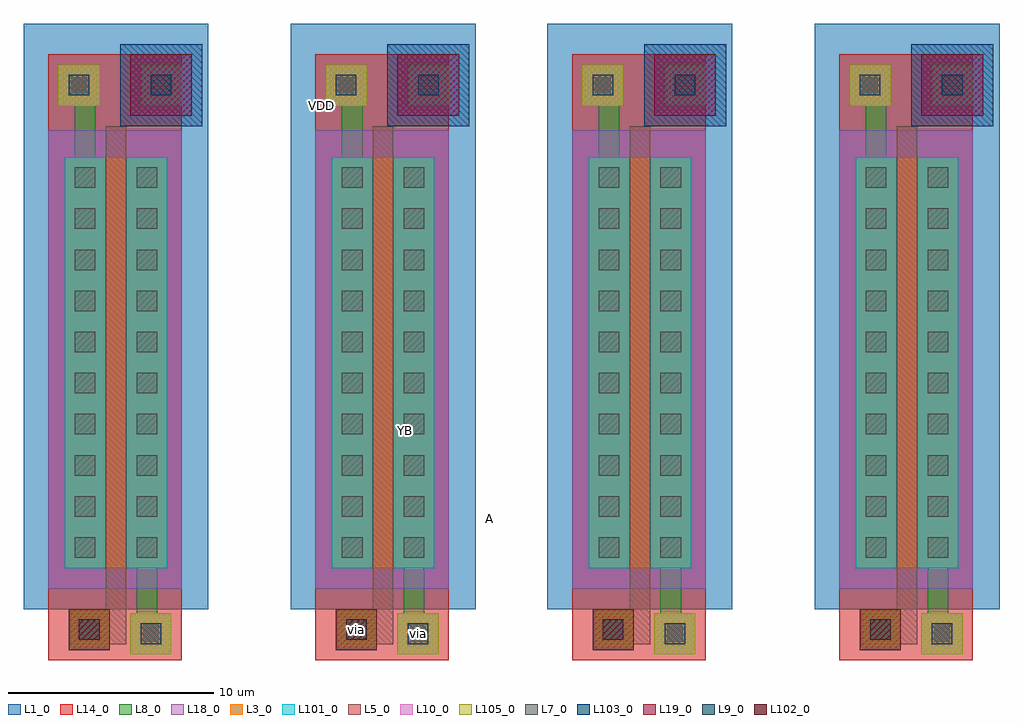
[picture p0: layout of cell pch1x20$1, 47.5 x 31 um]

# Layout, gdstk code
import gdstk
lib = gdstk.Library(unit=1e-6, precision=1e-09)
def R(c, l, rs):  # rectangles x0, y0, x1, y1
    for r in rs: c.add(gdstk.rectangle(r[:2], r[2:], *l))
L1_0 = (1, 0)
L3_0 = (3, 0)
L5_0 = (5, 0)
L7_0 = (7, 0)
L8_0 = (8, 0)
L9_0 = (9, 0)
L10_0 = (10, 0)
L14_0 = (14, 0)
L18_0 = (18, 0)
L19_0 = (19, 0)
L101_0 = (101, 0)
L102_0 = (102, 0)
L103_0 = (103, 0)
L105_0 = (105, 0)

dcont_1_1 = lib.new_cell('dcont$1$1')
R(dcont_1_1, L3_0, [(-0.5,-0.5,0.5,0.5)])
R(dcont_1_1, L7_0, [(-0.5,-0.5,0.5,0.5)])
R(dcont_1_1, L8_0, [(-1,-1,1,1)])
R(dcont_1_1, L101_0, [(-1,-1,1,1)])
dcont_1_1.add(gdstk.Label('dcont', (0,0), layer=13, texttype=0))

via_1_1 = lib.new_cell('Via$1$1')
R(via_1_1, L8_0, [(-1,-1,1,1)])
R(via_1_1, L9_0, [(-0.5,-0.5,0.5,0.5)])
R(via_1_1, L10_0, [(-1,-1,1,1)])
R(via_1_1, L105_0, [(-1,-1,1,1)])
via_1_1.add(gdstk.Label('via', (0,0), layer=13, texttype=0))

nsubcont_1 = lib.new_cell('nsubcont$1')
R(nsubcont_1, L1_0, [(-2,-2,2,2)])
R(nsubcont_1, L19_0, [(-1.5,-1.5,1.5,1.5)])
R(nsubcont_1, L103_0, [(-2,-2,2,2)])
nsubcont_1.add(gdstk.Reference(dcont_1_1, (0,0)))
nsubcont_1.add(gdstk.Label('NScont', (0,0), layer=13, texttype=0))

pcont_1_1 = lib.new_cell('pcont$1$1')
R(pcont_1_1, L5_0, [(-1,-1,1,1)])
R(pcont_1_1, L7_0, [(-0.5,-0.5,0.5,0.5)])
R(pcont_1_1, L8_0, [(-1,-1,1,1)])
R(pcont_1_1, L102_0, [(-1,-1,1,1)])
pcont_1_1.add(gdstk.Label('pcont', (0,0), layer=13, texttype=0))

dcont_1 = lib.new_cell('dcont$1')
R(dcont_1, L3_0, [(-0.5,-0.5,0.5,0.5)])
R(dcont_1, L7_0, [(-0.5,-0.5,0.5,0.5)])
R(dcont_1, L8_0, [(-1,-1,1,1)])
R(dcont_1, L101_0, [(-1,-1,1,1)])
dcont_1.add(gdstk.Label('dcont', (0,0), layer=13, texttype=0))

via_1 = lib.new_cell('Via$1')
R(via_1, L8_0, [(-1,-1,1,1)])
R(via_1, L9_0, [(-0.5,-0.5,0.5,0.5)])
R(via_1, L10_0, [(-1,-1,1,1)])
R(via_1, L105_0, [(-1,-1,1,1)])
via_1.add(gdstk.Label('via', (0,0), layer=13, texttype=0))

nsubcont = lib.new_cell('nsubcont')
R(nsubcont, L1_0, [(-2,-2,2,2)])
R(nsubcont, L19_0, [(-1.5,-1.5,1.5,1.5)])
R(nsubcont, L103_0, [(-2,-2,2,2)])
nsubcont.add(gdstk.Reference(dcont_1, (0,0)))
nsubcont.add(gdstk.Label('NScont', (0,0), layer=13, texttype=0))

pcont_1 = lib.new_cell('pcont$1')
R(pcont_1, L5_0, [(-1,-1,1,1)])
R(pcont_1, L7_0, [(-0.5,-0.5,0.5,0.5)])
R(pcont_1, L8_0, [(-1,-1,1,1)])
R(pcont_1, L102_0, [(-1,-1,1,1)])
pcont_1.add(gdstk.Label('pcont', (0,0), layer=13, texttype=0))

pch1x20 = lib.new_cell('pch1x20')
R(pch1x20, L1_0, [(-1.2,3,7.8,31.5)])
R(pch1x20, L3_0, [(0.8,5,5.8,25)])
R(pch1x20, L5_0, [(1.3,1.3,3.8,2.7)])
R(pch1x20, L8_0, [(4,0.8,6,2.8), (1,1,3,3)])
R(pch1x20, L10_0, [(4,0.8,6,2.8), (1,1,3,3)])
R(pch1x20, L14_0, [(0,0.5,6.5,30)])
R(pch1x20, L18_0, [(0,4,6.5,26.3)])
R(pch1x20, L105_0, [(4,0.8,6,2.8), (1,1,3,3)])
pch1x20.add(gdstk.FlexPath([(1.8,29),(1.8,23.8)], 1, ends="extended", simple_path=True, layer=8, datatype=0))  # L8_0
pch1x20.add(gdstk.FlexPath([(1.8,5.8),(1.8,24)], 1.4, ends="extended", simple_path=True, layer=8, datatype=0))  # L8_0
pch1x20.add(gdstk.FlexPath([(4.8,5.8),(4.8,24)], 1.4, ends="extended", simple_path=True, layer=8, datatype=0))  # L8_0
pch1x20.add(gdstk.FlexPath([(4.8,5.5),(4.8,2.3)], 1, ends="extended", simple_path=True, layer=8, datatype=0))  # L8_0
pch1x20.add(gdstk.FlexPath([(3.3,26),(3.3,2.8)], 1, ends="extended", simple_path=True, layer=5, datatype=0))  # L5_0
pch1x20.add(gdstk.Reference(dcont_1, (1.8,6)))
pch1x20.add(gdstk.Reference(dcont_1, (1.8,8)))
pch1x20.add(gdstk.Reference(dcont_1, (4.8,12)))
pch1x20.add(gdstk.Reference(dcont_1, (4.8,10)))
pch1x20.add(gdstk.Reference(dcont_1, (1.8,14)))
pch1x20.add(gdstk.Reference(dcont_1, (1.8,16)))
pch1x20.add(gdstk.Reference(dcont_1, (4.8,20)))
pch1x20.add(gdstk.Reference(dcont_1, (4.8,18)))
pch1x20.add(gdstk.Reference(via_1, (1.5,28.5)))
pch1x20.add(gdstk.Reference(dcont_1, (4.8,22)))
pch1x20.add(gdstk.Reference(via_1, (5,1.8)))
pch1x20.add(gdstk.Reference(dcont_1, (1.8,24)))
pch1x20.add(gdstk.Reference(dcont_1, (4.8,24)))
pch1x20.add(gdstk.Reference(dcont_1, (1.8,22)))
pch1x20.add(gdstk.Reference(via_1, (2,2)))
pch1x20.add(gdstk.Reference(nsubcont, (5.5,28.5)))
pch1x20.add(gdstk.Reference(pcont_1, (2,2)))
pch1x20.add(gdstk.Reference(dcont_1, (1.8,20)))
pch1x20.add(gdstk.Reference(dcont_1, (1.8,18)))
pch1x20.add(gdstk.Reference(dcont_1, (4.8,14)))
pch1x20.add(gdstk.Reference(dcont_1, (4.8,16)))
pch1x20.add(gdstk.Reference(dcont_1, (1.8,12)))
pch1x20.add(gdstk.Reference(dcont_1, (1.8,10)))
pch1x20.add(gdstk.Reference(dcont_1, (4.8,6)))
pch1x20.add(gdstk.Reference(dcont_1, (4.8,8)))
pch1x20.add(gdstk.Reference(via_1, (5.5,28.5)))
pch1x20.add(gdstk.Label('A', (8.5,7.4), layer=13, texttype=0))
pch1x20.add(gdstk.Label('VDD', (0.3,27.5), layer=13, texttype=0))
pch1x20.add(gdstk.Label('YB', (4.4,11.7), layer=13, texttype=0))
pch1x20.add(gdstk.Label('via', (5,1.8), layer=13, texttype=0))
pch1x20.add(gdstk.Label('via', (2,2), layer=13, texttype=0))

pch1x20_1 = lib.new_cell('pch1x20$1')
R(pch1x20_1, L1_0, [(-1.2,3,7.8,31.5)])
R(pch1x20_1, L3_0, [(0.8,5,5.8,25)])
R(pch1x20_1, L5_0, [(1.3,1.3,3.8,2.7)])
R(pch1x20_1, L8_0, [(4,0.8,6,2.8), (1,1,3,3)])
R(pch1x20_1, L10_0, [(4,0.8,6,2.8), (1,1,3,3)])
R(pch1x20_1, L14_0, [(0,0.5,6.5,30)])
R(pch1x20_1, L18_0, [(0,4,6.5,26.3)])
R(pch1x20_1, L105_0, [(4,0.8,6,2.8), (1,1,3,3)])
pch1x20_1.add(gdstk.FlexPath([(1.8,29),(1.8,23.8)], 1, ends="extended", simple_path=True, layer=8, datatype=0))  # L8_0
pch1x20_1.add(gdstk.FlexPath([(1.8,5.8),(1.8,24)], 1.4, ends="extended", simple_path=True, layer=8, datatype=0))  # L8_0
pch1x20_1.add(gdstk.FlexPath([(4.8,5.8),(4.8,24)], 1.4, ends="extended", simple_path=True, layer=8, datatype=0))  # L8_0
pch1x20_1.add(gdstk.FlexPath([(4.8,5.5),(4.8,2.3)], 1, ends="extended", simple_path=True, layer=8, datatype=0))  # L8_0
pch1x20_1.add(gdstk.FlexPath([(3.3,26),(3.3,2.8)], 1, ends="extended", simple_path=True, layer=5, datatype=0))  # L5_0
pch1x20_1.add(gdstk.Reference(dcont_1_1, (1.8,6)))
pch1x20_1.add(gdstk.Reference(dcont_1_1, (1.8,8)))
pch1x20_1.add(gdstk.Reference(dcont_1_1, (4.8,12)))
pch1x20_1.add(gdstk.Reference(dcont_1_1, (4.8,10)))
pch1x20_1.add(gdstk.Reference(dcont_1_1, (1.8,14)))
pch1x20_1.add(gdstk.Reference(dcont_1_1, (1.8,16)))
pch1x20_1.add(gdstk.Reference(dcont_1_1, (4.8,20)))
pch1x20_1.add(gdstk.Reference(dcont_1_1, (4.8,18)))
pch1x20_1.add(gdstk.Reference(via_1_1, (1.5,28.5)))
pch1x20_1.add(gdstk.Reference(dcont_1_1, (4.8,22)))
pch1x20_1.add(gdstk.Reference(via_1_1, (5,1.8)))
pch1x20_1.add(gdstk.Reference(dcont_1_1, (1.8,24)))
pch1x20_1.add(gdstk.Reference(dcont_1_1, (4.8,24)))
pch1x20_1.add(gdstk.Reference(dcont_1_1, (1.8,22)))
pch1x20_1.add(gdstk.Reference(via_1_1, (2,2)))
pch1x20_1.add(gdstk.Reference(nsubcont_1, (5.5,28.5)))
pch1x20_1.add(gdstk.Reference(pcont_1_1, (2,2)))
pch1x20_1.add(gdstk.Reference(dcont_1_1, (1.8,20)))
pch1x20_1.add(gdstk.Reference(dcont_1_1, (1.8,18)))
pch1x20_1.add(gdstk.Reference(dcont_1_1, (4.8,14)))
pch1x20_1.add(gdstk.Reference(dcont_1_1, (4.8,16)))
pch1x20_1.add(gdstk.Reference(dcont_1_1, (1.8,12)))
pch1x20_1.add(gdstk.Reference(dcont_1_1, (1.8,10)))
pch1x20_1.add(gdstk.Reference(dcont_1_1, (4.8,6)))
pch1x20_1.add(gdstk.Reference(dcont_1_1, (4.8,8)))
pch1x20_1.add(gdstk.Reference(via_1_1, (5.5,28.5)))
pch1x20_1.add(gdstk.Reference(pch1x20, (-13,0)))
pch1x20_1.add(gdstk.Reference(pch1x20, (12.5,0)))
pch1x20_1.add(gdstk.Reference(pch1x20, (25.5,0)))
pch1x20_1.add(gdstk.Label('A', (8.5,7.4), layer=13, texttype=0))
pch1x20_1.add(gdstk.Label('VDD', (0.3,27.5), layer=13, texttype=0))
pch1x20_1.add(gdstk.Label('YB', (4.4,11.7), layer=13, texttype=0))
pch1x20_1.add(gdstk.Label('via', (5,1.8), layer=13, texttype=0))
pch1x20_1.add(gdstk.Label('via', (2,2), layer=13, texttype=0))

lib.write_gds('pch1x20_1.gds')
